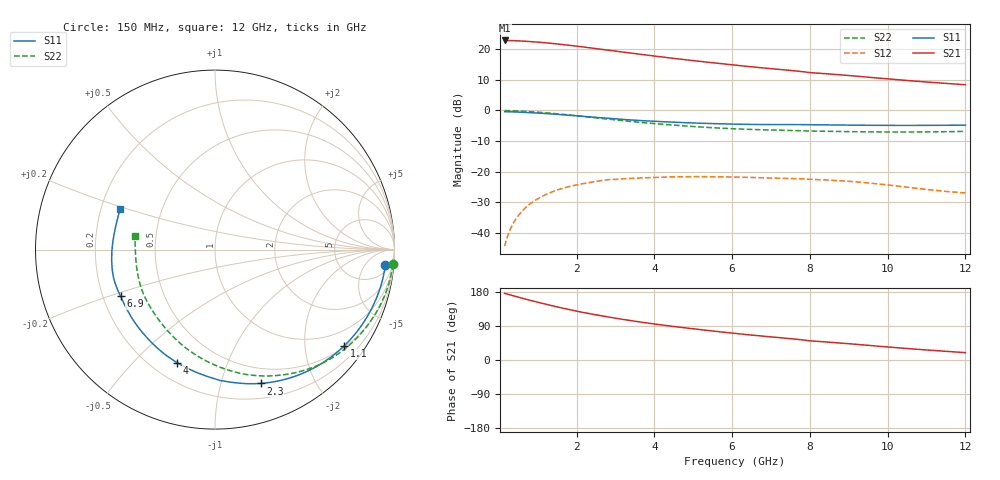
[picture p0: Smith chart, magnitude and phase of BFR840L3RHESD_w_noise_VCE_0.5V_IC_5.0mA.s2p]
! Infineon Technologies  Discrete & RF Semiconductors
! BFR840L3RHESD
! VCE =  0.5 V,  IC =  5.0 mA
! Common Emitter S-Parameters:  Jun 2012
# GHz  S  MA  R  50
!  f  S11  S21  S12  S22
! GHz  MAG  ANG  MAG  ANG  MAG  ANG  MAG  ANG
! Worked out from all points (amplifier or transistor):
!   91 points, 150 MHz to 12 GHz, reference 50 ohm
!   highest |S21| = 22.9 dB at 150 MHz (marker M1)
!   |S21| within 3 dB of that: start of sweep to 2.7 GHz
!   unconditionally stable (mu >= 1): 9.312 GHz to end of sweep
!   at 1.3 GHz: K = 0.09, MSG = 24.5 dB, |S12| = -27.0 dB
!   at 4.3 GHz: K = 0.30, MSG = 19.6 dB, |S12| = -21.8 dB
!   at 12 GHz: K = 2.12, MAG = 11.7 dB, |S12| = -27.0 dB
!   lowest NFmin = 0.50 dB at 450 MHz
!   S11 on the Smith chart (normalised r, x): 150 MHz: 9, -17; 1.1 GHz: 0.53, -2.92; 2.3 GHz: 0.34, -1.34; 4 GHz: 0.30, -0.68; 6.9 GHz: 0.27, -0.22; 12 GHz: 0.28, +0.19
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0.15  0.9521 -5.3  13.97 175.9  0.006 83.2  0.9934 -4.7
0.35  0.9461 -12.2  13.88 170.2  0.0134 80.5  0.9867 -11.1
0.6  0.9327 -20.7  13.65 163.1  0.0225 73.9  0.9707 -18.8
0.8  0.9198 -27.3  13.41 157.7  0.0294 69.5  0.9544 -24.7
1.1  0.8975 -36.8  12.96 150.0  0.0388 63.5  0.926 -33.4
1.3  0.8809 -42.9  12.62 145.0  0.0445 59.5  0.9045 -39.0
1.6  0.8539 -51.9  12.05 137.9  0.0521 53.5  0.8687 -47.1
1.9  0.8254 -60.5  11.46 131.2  0.0585 48.0  0.8302 -54.7
2.2  0.7969 -68.7  10.86 124.9  0.0638 42.9  0.7918 -61.9
2.3  0.7876 -71.2  10.66 123.0  0.0655 41.3  0.7795 -64.2
2.6  0.7607 -78.5  10.07 117.4  0.0705 36.7  0.7443 -70.8
3.1  0.7196 -90.1  9.175 108.7  0.0754 29.9  0.6888 -81.1
3.5  0.6915 -98.6  8.513 102.4  0.0777 25.0  0.65 -88.7
4  0.6642 -108.5  7.77 95.1  0.0799 19.7  0.6089 -97.5
4.2  0.6549 -112.2  7.496 92.4  0.0807 17.8  0.5944 -100.9
5.1  0.6197 -127.9  6.43 81.2  0.0824 10.0  0.5399 -115.1
6.1  0.5963 -143.0  5.496 70.0  0.081 2.8  0.4994 -129.5
6.9  0.5871 -153.7  4.892 61.9  0.0785 -1.9  0.48 -140.0
8  0.5833 -169.1  4.16 50.6  0.0746 -9.0  0.4602 -155.2
8.5  0.5792 -173.8  3.95 47.0  0.0723 -11.4  0.4547 -159.8
10.5  0.5682 167.3  3.091 30.3  0.0554 -18.3  0.4437 -179.0
12  0.5748 157.1  2.634 19.4  0.0446 -13.0  0.4535 170.3
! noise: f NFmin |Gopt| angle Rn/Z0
0.45  0.5  0.54  7  0.19
0.9  0.54  0.53  11  0.18
1.9  0.57  0.52  28  0.18
3.5  0.59  0.52  47  0.16
4  0.61  0.51  55  0.16
5.5  0.66  0.52  70  0.14
7  0.73  0.5  89  0.13
8  0.79  0.46  100  0.12
10  0.93  0.42  122  0.1
12  1.1  0.35  153  0.08
